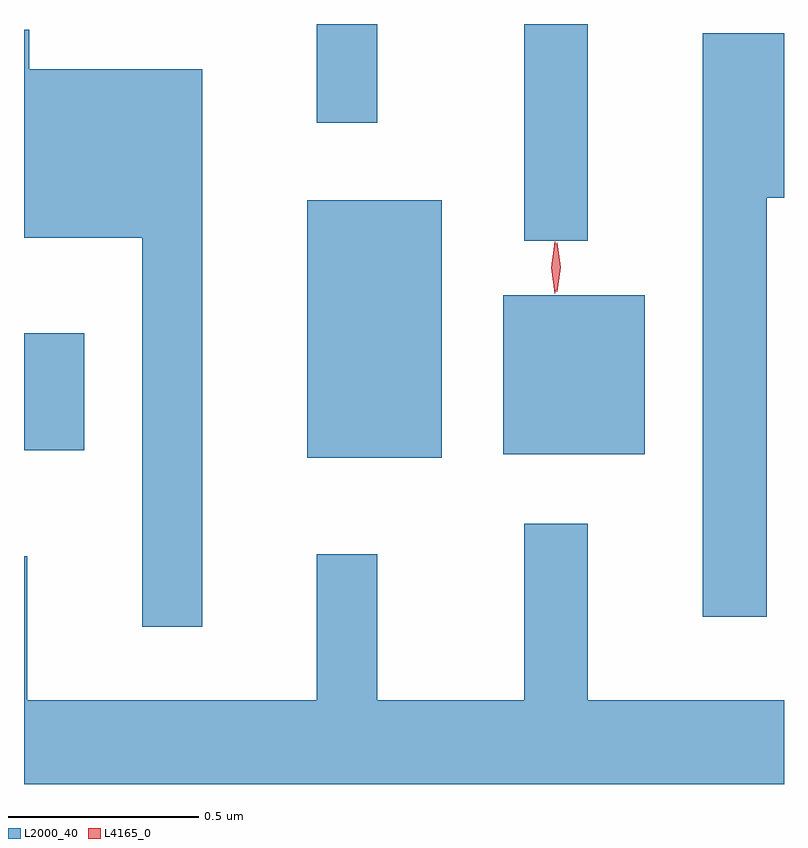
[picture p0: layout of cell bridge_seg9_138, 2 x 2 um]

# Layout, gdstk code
import gdstk
lib = gdstk.Library(unit=1e-6, precision=1e-09)
def R(c, l, rs):  # rectangles x0, y0, x1, y1
    for r in rs: c.add(gdstk.rectangle(r[:2], r[2:], *l))
def P(c, l, *ps):  # polygons
    for p in ps: c.add(gdstk.Polygon(p, *l))
L2000_40 = (2000, 40)
L4165_0 = (4165, 0)

bridge_seg9_138 = lib.new_cell('bridge_seg9_138')
R(bridge_seg9_138, L2000_40, [(1351.791,2077.081,1352.144,2077.759), (1352.306,2077.091,1352.679,2077.509), (1351.045,2077.101,1351.204,2077.409), (1352.361,2077.653,1352.529,2078.223), (1351.816,2077.963,1351.974,2078.223)])
P(bridge_seg9_138, L2000_40, [(1351.514,2078.104),(1351.059,2078.104),(1351.059,2078.208),(1351.045,2078.208),(1351.045,2077.661),(1351.356,2077.661),(1351.356,2076.637),(1351.514,2076.637)],
  [(1352.999,2077.766),(1353.045,2077.766),(1353.045,2078.199),(1352.831,2078.199),(1352.831,2076.663),(1352.999,2076.663)],
  [(1353.045,2076.444),(1352.529,2076.444),(1352.529,2076.908),(1352.361,2076.908),(1352.361,2076.444),(1351.974,2076.444),(1351.974,2076.827),(1351.816,2076.827),(1351.816,2076.444),(1351.054,2076.444),(1351.054,2076.823),(1351.045,2076.823),(1351.045,2076.223),(1353.045,2076.223)])
P(bridge_seg9_138, L4165_0, [(1352.442,2077.513),(1352.442,2077.514),(1352.432,2077.582),(1352.442,2077.65),(1352.442,2077.65),(1352.443,2077.65),(1352.452,2077.582),(1352.443,2077.514)],
  [(1352.447,2077.518),(1352.447,2077.519),(1352.437,2077.583),(1352.447,2077.647),(1352.447,2077.647),(1352.448,2077.647),(1352.457,2077.583),(1352.448,2077.519)])

lib.write_gds('bridge_seg9_138.gds')
